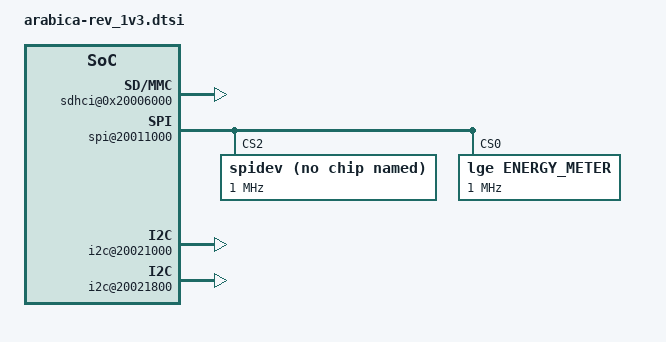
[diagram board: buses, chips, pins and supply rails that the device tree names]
/*
 * LG Electronics I2C for ODIN/Woden
 */

/ {

  connectivity {
        compatible = "simple-bus";
  		interrupt-parent = <&gic>;
   	    #address-cells = <2>;
   	    #size-cells = <2>;
		ranges;

/* sdio start */
		sdhci@0x20006000{
			compatible = "odin,sdio";
			reg = <0 0x20006000 0 0x2000>;
			clocks = <&sdio_sclk0>;
			interrupts = <0 4 0x4>;	/* 36 - 32 */
			sdclk = <100>;			/* 200Mhz, UHS104*/
			tuning_mode = <1>;		/* 0 : mode-1, 1 : mode-2, 2 : mode-3 */
		};
/* sdio end */

/* BCM4339 Wi-Fi Driver start */
		wlan@0{
			compatible = "odin,broadcom,bcm4339-wlan";
			power_gpio = <154>;		/* 112 + SMS_GPIO_42_EINT */
		};
/* BCM4339 Wi-Fi Driver end */

		bt@0{
			compatible ="odin,broadcom,bcm4339-bt";
			reset_gpio = <132>;		/* 112 + SMS_GPIO_20 */
			wakeup_gpio = <3>;		/* 0 + PERI_G0_GPIO_03_EINT */
			hostwake_gpio = <140>;	/* 112 + SMS_GPIO_28 */
		};
	};
	soc{
		compatible = "simple-bus";
  		interrupt-parent = <&gic>;
		#address-cells = <2>;
		#size-cells = <2>;
		ranges;
		spi@20011000 {
			compatible = "octasic,odin-spi";
			reg = <0 0x20011000 0 0x1000>;
			interrupts = <0 9 0x4>;
			clocks = <&spi_sclk0>;
			id = <0>;
			#address-cells = <1>;
			#size-cells = <0>;

			spidev@0{
				compatible = "spidev";
				spi-max-frequency = <1000000>;
				reg = <2>;
				spi-cpha;
				spi-cpol;
			};

			ethernet@1{
				status = "disabled";
			};

			energy_meter@2{
				compatible = "lge,energy_meter";
				spi-max-frequency = <1000000>;
				reg = <0>;
			};
		};
		i2c@20021000 {
			compatible = "snps,odin-i2c";
			reg = <0 0x20021000 0 0x800>;
			interrupts = <0 15 0x4>;
			clocks = <&i2c_sclk0>;

			max77665: max77665@66{
				status = "disabled";
			};

            max77665-muic@25{
				status = "disabled";
			};
		};
		i2c@20021800 {
			compatible = "snps,odin-i2c";
			reg = <0 0x20021800 0 0x800>;
			interrupts = <0 16 0x4>;
			clocks = <&i2c_sclk1>;

			lm3630@38{
				compatible = "backlight,lm3630_odin";
				status = "disabled";
			};
		};
	};
};
